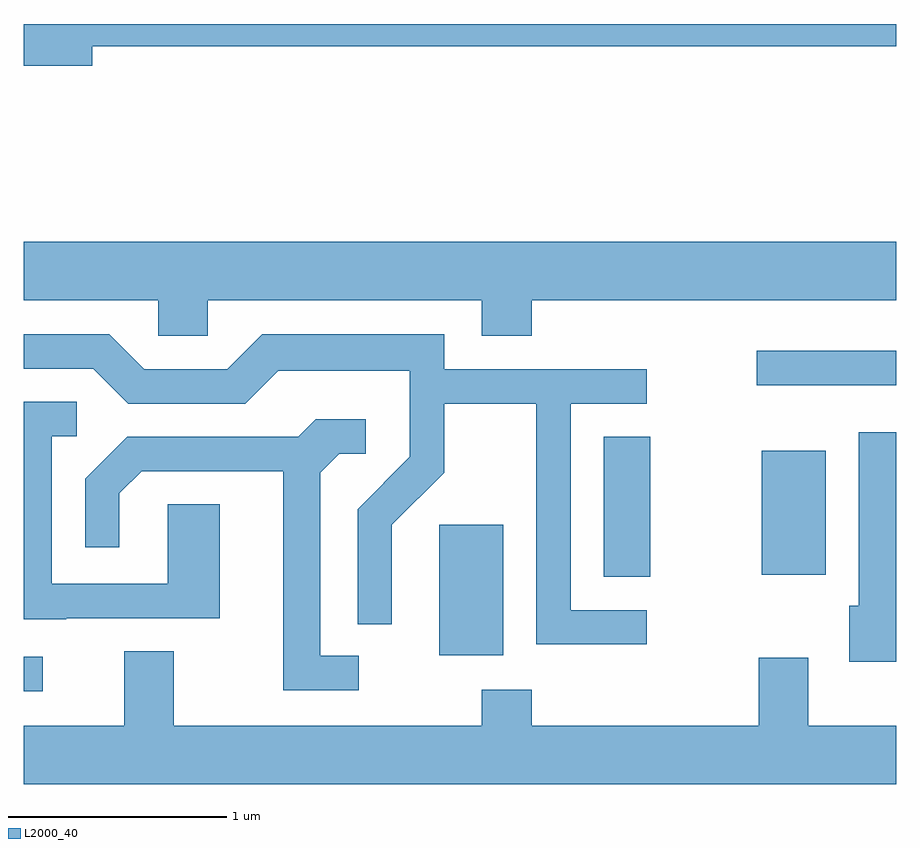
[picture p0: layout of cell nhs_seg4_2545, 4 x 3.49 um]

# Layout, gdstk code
import gdstk
lib = gdstk.Library(unit=1e-6, precision=1e-09)
def R(c, l, rs):  # rectangles x0, y0, x1, y1
    for r in rs: c.add(gdstk.rectangle(r[:2], r[2:], *l))
def P(c, l, *ps):  # polygons
    for p in ps: c.add(gdstk.Polygon(p, *l))
L2000_40 = (2000, 40)

nhs_seg4_2545 = lib.new_cell('nhs_seg4_2545')
R(nhs_seg4_2545, L2000_40, [(259.611,1312.921,259.698,1313.079), (261.516,1313.086,261.809,1313.684), (262.271,1313.446,262.484,1314.089), (262.996,1313.456,263.289,1314.024), (262.973,1314.326,263.611,1314.484)])
P(nhs_seg4_2545, L2000_40, [(259.924,1315.881),(263.611,1315.881),(263.611,1315.982),(259.611,1315.982),(259.611,1315.791),(259.924,1315.791)],
  [(259.611,1314.716),(260.226,1314.716),(260.226,1314.551),(260.454,1314.551),(260.454,1314.716),(261.711,1314.716),(261.711,1314.551),(261.939,1314.551),(261.939,1314.716),(263.611,1314.716),(263.611,1314.984),(259.611,1314.984)],
  [(262.468,1313.294),(262.119,1313.294),(262.119,1314.241),(262.468,1314.241),(262.468,1314.399),(261.539,1314.399),(261.539,1314.559),(260.704,1314.559),(260.544,1314.399),(260.162,1314.399),(260.002,1314.559),(259.611,1314.559),(259.611,1314.401),(259.929,1314.401),(260.089,1314.241),(260.627,1314.241),(260.777,1314.391),(261.381,1314.391),(261.381,1313.997),(261.141,1313.757),(261.141,1313.228),(261.299,1313.228),(261.299,1313.684),(261.539,1313.924),(261.539,1314.241),(261.961,1314.241),(261.961,1313.136),(262.468,1313.136)],
  [(259.805,1313.256),(260.509,1313.256),(260.509,1313.779),(260.271,1313.779),(260.271,1313.414),(259.739,1313.414),(259.739,1314.091),(259.853,1314.091),(259.853,1314.249),(259.611,1314.249),(259.611,1313.251),(259.805,1313.251)],
  [(261.147,1313.084),(260.969,1313.084),(260.969,1313.924),(261.057,1314.011),(261.178,1314.011),(261.178,1314.169),(260.949,1314.169),(260.868,1314.089),(260.084,1314.089),(259.891,1313.897),(259.891,1313.583),(260.049,1313.583),(260.049,1313.829),(260.152,1313.931),(260.801,1313.931),(260.801,1312.926),(261.147,1312.926)],
  [(263.611,1314.109),(263.441,1314.109),(263.441,1313.314),(263.396,1313.314),(263.396,1313.056),(263.611,1313.056)],
  [(263.611,1312.764),(263.209,1312.764),(263.209,1313.074),(262.981,1313.074),(262.981,1312.764),(261.939,1312.764),(261.939,1312.929),(261.711,1312.929),(261.711,1312.764),(260.299,1312.764),(260.299,1313.104),(260.071,1313.104),(260.071,1312.764),(259.611,1312.764),(259.611,1312.496),(263.611,1312.496)])

lib.write_gds('nhs_seg4_2545.gds')
